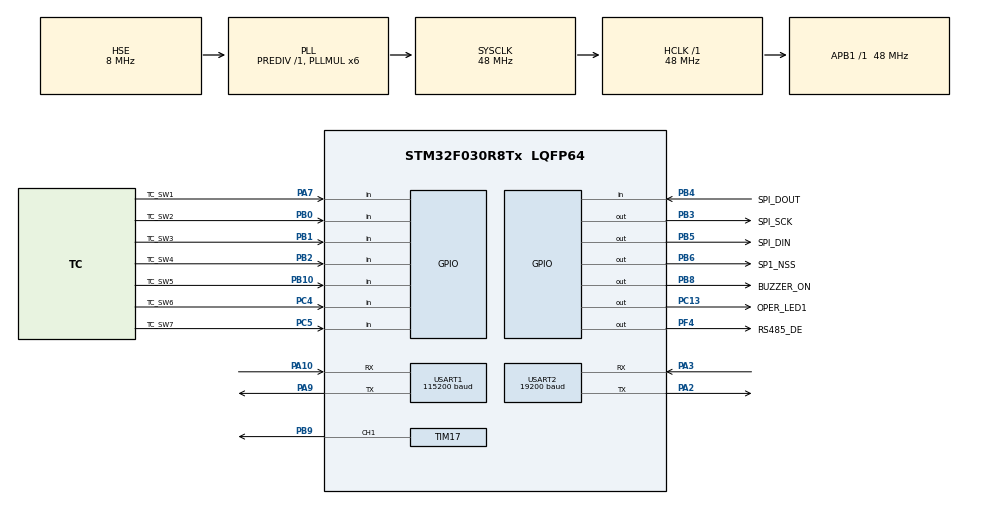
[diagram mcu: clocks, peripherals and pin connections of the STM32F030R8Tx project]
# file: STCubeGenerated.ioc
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Mcu.Family=STM32F0
Mcu.Name=STM32F030R8Tx
Mcu.Package=LQFP64
NVIC.USART1_IRQn=true\:0\:0\:false\:false\:true\:true\:false
NVIC.USART2_IRQn=true\:0\:0\:false\:false\:true\:true\:false
PA10.GPIO_PuPd=GPIO_PULLUP
PA10.Mode=Asynchronous
PA10.Signal=USART1_RX
PA2.GPIO_PuPd=GPIO_PULLUP
PA2.Mode=Asynchronous
PA2.Signal=USART2_TX
PA3.GPIO_PuPd=GPIO_PULLUP
PA3.Mode=Asynchronous
PA3.Signal=USART2_RX
PA7.GPIO_Label=TC_SW1
PA7.GPIO_PuPd=GPIO_PULLUP
PA7.Signal=GPIO_Input
PA9.GPIO_PuPd=GPIO_PULLUP
PA9.Mode=Asynchronous
PA9.Signal=USART1_TX
PB0.GPIO_Label=TC_SW2
PB0.GPIO_PuPd=GPIO_PULLUP
PB0.Signal=GPIO_Input
PB1.GPIO_Label=TC_SW3
PB1.GPIO_PuPd=GPIO_PULLUP
PB1.Signal=GPIO_Input
PB10.GPIO_Label=TC_SW5
PB10.GPIO_PuPd=GPIO_PULLUP
PB10.Signal=GPIO_Input
PB2.GPIO_Label=TC_SW4
PB2.GPIO_PuPd=GPIO_PULLUP
PB2.Signal=GPIO_Input
PB3.GPIO_Label=SPI_SCK
PB3.GPIO_PuPd=GPIO_PULLUP
PB3.GPIO_Speed=GPIO_SPEED_FREQ_HIGH
PB3.Signal=GPIO_Output
PB4.GPIO_Label=SPI_DOUT
PB4.GPIO_PuPd=GPIO_PULLUP
PB4.Signal=GPIO_Input
PB5.GPIO_Label=SPI_DIN
PB5.GPIO_PuPd=GPIO_PULLUP
PB5.GPIO_Speed=GPIO_SPEED_FREQ_HIGH
PB5.Signal=GPIO_Output
PB6.GPIO_FM6=SYSCFG_CFGR1_I2C_FMP_PB6
PB6.GPIO_Label=SP1_NSS
PB6.GPIO_PuPd=GPIO_PULLUP
PB6.GPIO_Speed=GPIO_SPEED_FREQ_HIGH
PB6.PinState=GPIO_PIN_SET
PB6.Signal=GPIO_Output
PB8.GPIO_FM8=SYSCFG_CFGR1_I2C_FMP_PB8
PB8.GPIO_Label=BUZZER_ON
PB8.GPIO_PuPd=GPIO_PULLDOWN
PB8.GPIO_Speed=GPIO_SPEED_FREQ_HIGH
PB8.Signal=GPIO_Output
PB9.Signal=S_TIM17_CH1
PC13.GPIO_Label=OPER_LED1
PC13.GPIO_PuPd=GPIO_PULLUP
PC13.GPIO_Speed=GPIO_SPEED_FREQ_LOW
PC13.Signal=GPIO_Output
PC4.GPIO_Label=TC_SW6
PC4.GPIO_PuPd=GPIO_PULLUP
PC4.Signal=GPIO_Input
PC5.GPIO_Label=TC_SW7
PC5.GPIO_PuPd=GPIO_PULLUP
PC5.Signal=GPIO_Input
PF0-OSC_IN.Mode=HSE-External-Oscillator
PF0-OSC_IN.Signal=RCC_OSC_IN
PF1-OSC_OUT.Mode=HSE-External-Oscillator
PF1-OSC_OUT.Signal=RCC_OSC_OUT
PF4.GPIO_Label=RS485_DE
PF4.GPIO_PuPd=GPIO_PULLDOWN
PF4.GPIO_Speed=GPIO_SPEED_FREQ_HIGH
PF4.Signal=GPIO_Output
ProjectManager.HeapSize=0x200
ProjectManager.StackSize=0x400
ProjectManager.TargetToolchain=MDK-ARM V5.27
RCC.AHBFreq_Value=48000000
RCC.APB1Freq_Value=48000000
RCC.APB1TimFreq_Value=48000000
RCC.HCLKFreq_Value=48000000
RCC.PLLMUL=RCC_PLL_MUL6
RCC.PLLSourceVirtual=RCC_PLLSOURCE_HSE
RCC.SYSCLKFreq_VALUE=48000000
RCC.SYSCLKSource=RCC_SYSCLKSOURCE_PLLCLK
SH.S_TIM17_CH1.0=TIM17_CH1,PWM Generation1 CH1
TIM1.ClockDivision=TIM_CLOCKDIVISION_DIV2
TIM1.Prescaler=21
TIM17.Channel=TIM_CHANNEL_1
USART1.BaudRate=115200
USART1.DMADisableonRxErrorParam=ADVFEATURE_DMA_DISABLEONRXERROR
USART1.OverrunDisableParam=ADVFEATURE_OVERRUN_DISABLE
USART1.VirtualMode-Asynchronous=VM_ASYNC
USART2.BaudRate=19200
USART2.DMADisableonRxErrorParam=ADVFEATURE_DMA_DISABLEONRXERROR
USART2.OverrunDisableParam=ADVFEATURE_OVERRUN_DISABLE
USART2.VirtualMode-Asynchronous=VM_ASYNC
VP_TIM17_VS_ClockSourceINT.Mode=Enable_Timer
VP_TIM1_VS_ClockSourceINT.Mode=Internal
board=custom

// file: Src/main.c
/* USER CODE BEGIN Header */
/**
  ******************************************************************************
  * @file           : main.c
  * @brief          : Main program body
  ******************************************************************************
  * @attention
  *
  * <h2><center>&copy; Copyright (c) 2021 STMicroelectronics.
  * All rights reserved.</center></h2>
  *
  * This software component is licensed by ST under BSD 3-Clause license,
  * the "License"; You may not use this file except in compliance with the
  * License. You may obtain a copy of the License at:
  *                        opensource.org/licenses/BSD-3-Clause
  *
  ******************************************************************************
  */
/* USER CODE END Header */
#include "main.h"

/* USER CODE BEGIN Includes */
#include "rs485.h"
#include "clothdryer.h"
#include "debug.h"
#include "buzzer.h"
#include "segment.h"
#include "flashrom.h"
/* USER CODE END Includes */

TIM_HandleTypeDef htim1;
TIM_HandleTypeDef htim17;

UART_HandleTypeDef huart1;
UART_HandleTypeDef huart2;

/* USER CODE BEGIN PV */
extern _Bool 		comm_init_ok;
/* USER CODE END PV */

void SystemClock_Config(void);
static void MX_GPIO_Init(void);
static void MX_TIM1_Init(void);
static void MX_USART1_UART_Init(void);
static void MX_USART2_UART_Init(void);
static void MX_TIM17_Init(void);
/* USER CODE BEGIN PFP */
void Timer_Proc(void);
/* USER CODE END PFP */

int main(void)
{

  /* MCU Configuration--------------------------------------------------------*/

  /* Reset of all peripherals, Initializes the Flash interface and the Systick. */
  HAL_Init();

  /* Configure the system clock */
  SystemClock_Config();

  /* Initialize all configured peripherals */
  MX_GPIO_Init();
  MX_TIM1_Init();
  MX_USART1_UART_Init();
  MX_USART2_UART_Init();
  MX_TIM17_Init();
  /* USER CODE BEGIN 2 */
	FlashRom_Init();
	LD1963_Init();

	Play_Buzzer(7);

	Disp_Version();
	Send_LED_Data();
	HAL_Delay(1000);

	Waitled_on();

	mprintf("System Clock = %d Mhz\n", SystemCoreClock / 1000000);
	mprintf("Build Date is %s %s\n", __DATE__, __TIME__);

  /* USER CODE END 2 */

  /* Infinite loop */
  /* USER CODE BEGIN WHILE */
  while (1)
  {
	  Timer_Proc();

	  if(comm_init_ok)
	  {
		  InputCheck_Proc();
		  Error_Check_Proc();	// for cert
	  }

	  Debug_proc();
	  InputKey_Proc();

	  if(comm_init_ok)
		Cloth_Dryer_Proc();

	  Disp_Segment();
	  Disp_Coollingled();
	  Output_Proc();
	  Rs485_proc();
    /* USER CODE END WHILE */

  }
}

void SystemClock_Config(void)
{
  RCC_OscInitTypeDef RCC_OscInitStruct = {0};
  RCC_ClkInitTypeDef RCC_ClkInitStruct = {0};
  RCC_PeriphCLKInitTypeDef PeriphClkInit = {0};

  /** Initializes the RCC Oscillators according to the specified parameters
  * in the RCC_OscInitTypeDef structure.
  */
  RCC_OscInitStruct.OscillatorType = RCC_OSCILLATORTYPE_HSE;
  RCC_OscInitStruct.HSEState = RCC_HSE_ON;
  RCC_OscInitStruct.PLL.PLLState = RCC_PLL_ON;
  RCC_OscInitStruct.PLL.PLLSource = RCC_PLLSOURCE_HSE;
  RCC_OscInitStruct.PLL.PLLMUL = RCC_PLL_MUL6;
  RCC_OscInitStruct.PLL.PREDIV = RCC_PREDIV_DIV1;
  if (HAL_RCC_OscConfig(&RCC_OscInitStruct) != HAL_OK)
  {
    Error_Handler();
  }
  /** Initializes the CPU, AHB and APB buses clocks
  */
  RCC_ClkInitStruct.ClockType = RCC_CLOCKTYPE_HCLK|RCC_CLOCKTYPE_SYSCLK
                              |RCC_CLOCKTYPE_PCLK1;
  RCC_ClkInitStruct.SYSCLKSource = RCC_SYSCLKSOURCE_PLLCLK;
  RCC_ClkInitStruct.AHBCLKDivider = RCC_SYSCLK_DIV1;
  RCC_ClkInitStruct.APB1CLKDivider = RCC_HCLK_DIV1;

  if (HAL_RCC_ClockConfig(&RCC_ClkInitStruct, FLASH_LATENCY_1) != HAL_OK)
  {
    Error_Handler();
  }
  PeriphClkInit.PeriphClockSelection = RCC_PERIPHCLK_USART1;
  PeriphClkInit.Usart1ClockSelection = RCC_USART1CLKSOURCE_PCLK1;
  if (HAL_RCCEx_PeriphCLKConfig(&PeriphClkInit) != HAL_OK)
  {
    Error_Handler();
  }
}

static void MX_TIM1_Init(void)
{

  TIM_ClockConfigTypeDef sClockSourceConfig = {0};
  TIM_MasterConfigTypeDef sMasterConfig = {0};

  htim1.Instance = TIM1;
  htim1.Init.Prescaler = 21;
  htim1.Init.CounterMode = TIM_COUNTERMODE_UP;
  htim1.Init.Period = 65535;
  htim1.Init.ClockDivision = TIM_CLOCKDIVISION_DIV2;
  htim1.Init.RepetitionCounter = 0;
  htim1.Init.AutoReloadPreload = TIM_AUTORELOAD_PRELOAD_DISABLE;
  if (HAL_TIM_Base_Init(&htim1) != HAL_OK)
  {
    Error_Handler();
  }
  sClockSourceConfig.ClockSource = TIM_CLOCKSOURCE_INTERNAL;
  if (HAL_TIM_ConfigClockSource(&htim1, &sClockSourceConfig) != HAL_OK)
  {
    Error_Handler();
  }
  sMasterConfig.MasterOutputTrigger = TIM_TRGO_RESET;
  sMasterConfig.MasterSlaveMode = TIM_MASTERSLAVEMODE_DISABLE;
  if (HAL_TIMEx_MasterConfigSynchronization(&htim1, &sMasterConfig) != HAL_OK)
  {
    Error_Handler();
  }

}

static void MX_TIM17_Init(void)
{

  TIM_OC_InitTypeDef sConfigOC = {0};
  TIM_BreakDeadTimeConfigTypeDef sBreakDeadTimeConfig = {0};

  htim17.Instance = TIM17;
  htim17.Init.Prescaler = 0;
  htim17.Init.CounterMode = TIM_COUNTERMODE_UP;
  htim17.Init.Period = 65535;
  htim17.Init.ClockDivision = TIM_CLOCKDIVISION_DIV1;
  htim17.Init.RepetitionCounter = 0;
  htim17.Init.AutoReloadPreload = TIM_AUTORELOAD_PRELOAD_DISABLE;
  if (HAL_TIM_Base_Init(&htim17) != HAL_OK)
  {
    Error_Handler();
  }
  if (HAL_TIM_PWM_Init(&htim17) != HAL_OK)
  {
    Error_Handler();
  }
  sConfigOC.OCMode = TIM_OCMODE_PWM1;
  sConfigOC.Pulse = 0;
  sConfigOC.OCPolarity = TIM_OCPOLARITY_HIGH;
  sConfigOC.OCNPolarity = TIM_OCNPOLARITY_HIGH;
  sConfigOC.OCFastMode = TIM_OCFAST_DISABLE;
  sConfigOC.OCIdleState = TIM_OCIDLESTATE_RESET;
  sConfigOC.OCNIdleState = TIM_OCNIDLESTATE_RESET;
  if (HAL_TIM_PWM_ConfigChannel(&htim17, &sConfigOC, TIM_CHANNEL_1) != HAL_OK)
  {
    Error_Handler();
  }
  sBreakDeadTimeConfig.OffStateRunMode = TIM_OSSR_DISABLE;
  sBreakDeadTimeConfig.OffStateIDLEMode = TIM_OSSI_DISABLE;
  sBreakDeadTimeConfig.LockLevel = TIM_LOCKLEVEL_OFF;
  sBreakDeadTimeConfig.DeadTime = 0;
  sBreakDeadTimeConfig.BreakState = TIM_BREAK_DISABLE;
  sBreakDeadTimeConfig.BreakPolarity = TIM_BREAKPOLARITY_HIGH;
  sBreakDeadTimeConfig.AutomaticOutput = TIM_AUTOMATICOUTPUT_DISABLE;
  if (HAL_TIMEx_ConfigBreakDeadTime(&htim17, &sBreakDeadTimeConfig) != HAL_OK)
  {
    Error_Handler();
  }
  HAL_TIM_MspPostInit(&htim17);

}

static void MX_USART1_UART_Init(void)
{

  huart1.Instance = USART1;
  huart1.Init.BaudRate = 115200;
  huart1.Init.WordLength = UART_WORDLENGTH_8B;
  huart1.Init.StopBits = UART_STOPBITS_1;
  huart1.Init.Parity = UART_PARITY_NONE;
  huart1.Init.Mode = UART_MODE_TX_RX;
  huart1.Init.HwFlowCtl = UART_HWCONTROL_NONE;
  huart1.Init.OverSampling = UART_OVERSAMPLING_16;
  huart1.Init.OneBitSampling = UART_ONE_BIT_SAMPLE_DISABLE;
  huart1.AdvancedInit.AdvFeatureInit = UART_ADVFEATURE_RXOVERRUNDISABLE_INIT|UART_ADVFEATURE_DMADISABLEONERROR_INIT;
  huart1.AdvancedInit.OverrunDisable = UART_ADVFEATURE_OVERRUN_DISABLE;
  huart1.AdvancedInit.DMADisableonRxError = UART_ADVFEATURE_DMA_DISABLEONRXERROR;
  if (HAL_UART_Init(&huart1) != HAL_OK)
  {
    Error_Handler();
  }
  /* USER CODE BEGIN USART1_Init 2 */
	SET_BIT(USART1->CR1, USART_CR1_RXNEIE);
  /* USER CODE END USART1_Init 2 */

}

static void MX_USART2_UART_Init(void)
{

  huart2.Instance = USART2;
  huart2.Init.BaudRate = 19200;
  huart2.Init.WordLength = UART_WORDLENGTH_8B;
  huart2.Init.StopBits = UART_STOPBITS_1;
  huart2.Init.Parity = UART_PARITY_NONE;
  huart2.Init.Mode = UART_MODE_TX_RX;
  huart2.Init.HwFlowCtl = UART_HWCONTROL_NONE;
  huart2.Init.OverSampling = UART_OVERSAMPLING_16;
  huart2.Init.OneBitSampling = UART_ONE_BIT_SAMPLE_DISABLE;
  huart2.AdvancedInit.AdvFeatureInit = UART_ADVFEATURE_RXOVERRUNDISABLE_INIT|UART_ADVFEATURE_DMADISABLEONERROR_INIT;
  huart2.AdvancedInit.OverrunDisable = UART_ADVFEATURE_OVERRUN_DISABLE;
  huart2.AdvancedInit.DMADisableonRxError = UART_ADVFEATURE_DMA_DISABLEONRXERROR;
  if (HAL_UART_Init(&huart2) != HAL_OK)
  {
    Error_Handler();
  }
  /* USER CODE BEGIN USART2_Init 2 */
	SET_BIT(USART2->CR1, USART_CR1_RXNEIE);
  /* USER CODE END USART2_Init 2 */

}

static void MX_GPIO_Init(void)
{
  GPIO_InitTypeDef GPIO_InitStruct = {0};

  /* GPIO Ports Clock Enable */
  __HAL_RCC_GPIOC_CLK_ENABLE();
  __HAL_RCC_GPIOF_CLK_ENABLE();
  __HAL_RCC_GPIOA_CLK_ENABLE();
  __HAL_RCC_GPIOB_CLK_ENABLE();

  /*Configure GPIO pin Output Level */
  HAL_GPIO_WritePin(OPER_LED1_GPIO_Port, OPER_LED1_Pin, GPIO_PIN_RESET);

  /*Configure GPIO pin Output Level */
  HAL_GPIO_WritePin(RS485_DE_GPIO_Port, RS485_DE_Pin, GPIO_PIN_RESET);

  /*Configure GPIO pin Output Level */
  HAL_GPIO_WritePin(GPIOB, SPI_SCK_Pin|SPI_DIN_Pin|BUZZER_ON_Pin, GPIO_PIN_RESET);

  /*Configure GPIO pin Output Level */
  HAL_GPIO_WritePin(SP1_NSS_GPIO_Port, SP1_NSS_Pin, GPIO_PIN_SET);

  /*Configure GPIO pin : OPER_LED1_Pin */
  GPIO_InitStruct.Pin = OPER_LED1_Pin;
  GPIO_InitStruct.Mode = GPIO_MODE_OUTPUT_PP;
  GPIO_InitStruct.Pull = GPIO_PULLUP;
  GPIO_InitStruct.Speed = GPIO_SPEED_FREQ_LOW;
  HAL_GPIO_Init(OPER_LED1_GPIO_Port, &GPIO_InitStruct);

  /*Configure GPIO pin : RS485_DE_Pin */
  GPIO_InitStruct.Pin = RS485_DE_Pin;
  GPIO_InitStruct.Mode = GPIO_MODE_OUTPUT_PP;
  GPIO_InitStruct.Pull = GPIO_PULLDOWN;
  GPIO_InitStruct.Speed = GPIO_SPEED_FREQ_HIGH;
  HAL_GPIO_Init(RS485_DE_GPIO_Port, &GPIO_InitStruct);

  /*Configure GPIO pin : TC_SW1_Pin */
  GPIO_InitStruct.Pin = TC_SW1_Pin;
  GPIO_InitStruct.Mode = GPIO_MODE_INPUT;
  GPIO_InitStruct.Pull = GPIO_PULLUP;
  HAL_GPIO_Init(TC_SW1_GPIO_Port, &GPIO_InitStruct);

  /*Configure GPIO pins : TC_SW6_Pin TC_SW7_Pin */
  GPIO_InitStruct.Pin = TC_SW6_Pin|TC_SW7_Pin;
  GPIO_InitStruct.Mode = GPIO_MODE_INPUT;
  GPIO_InitStruct.Pull = GPIO_PULLUP;
  HAL_GPIO_Init(GPIOC, &GPIO_InitStruct);

  /*Configure GPIO pins : TC_SW2_Pin TC_SW3_Pin TC_SW4_Pin TC_SW5_Pin
                           SPI_DOUT_Pin */
  GPIO_InitStruct.Pin = TC_SW2_Pin|TC_SW3_Pin|TC_SW4_Pin|TC_SW5_Pin
                          |SPI_DOUT_Pin;
  GPIO_InitStruct.Mode = GPIO_MODE_INPUT;
  GPIO_InitStruct.Pull = GPIO_PULLUP;
  HAL_GPIO_Init(GPIOB, &GPIO_InitStruct);

  /*Configure GPIO pins : SPI_SCK_Pin SPI_DIN_Pin SP1_NSS_Pin */
  GPIO_InitStruct.Pin = SPI_SCK_Pin|SPI_DIN_Pin|SP1_NSS_Pin;
  GPIO_InitStruct.Mode = GPIO_MODE_OUTPUT_PP;
  GPIO_InitStruct.Pull = GPIO_PULLUP;
  GPIO_InitStruct.Speed = GPIO_SPEED_FREQ_HIGH;
  HAL_GPIO_Init(GPIOB, &GPIO_InitStruct);

  /*Configure GPIO pin : BUZZER_ON_Pin */
  GPIO_InitStruct.Pin = BUZZER_ON_Pin;
  GPIO_InitStruct.Mode = GPIO_MODE_OUTPUT_PP;
  GPIO_InitStruct.Pull = GPIO_PULLDOWN;
  GPIO_InitStruct.Speed = GPIO_SPEED_FREQ_HIGH;
  HAL_GPIO_Init(BUZZER_ON_GPIO_Port, &GPIO_InitStruct);

  /**/
  HAL_I2CEx_EnableFastModePlus(SYSCFG_CFGR1_I2C_FMP_PB6);

  /**/
  HAL_I2CEx_EnableFastModePlus(SYSCFG_CFGR1_I2C_FMP_PB8);

}

void Error_Handler(void)
{
  __disable_irq();
  while (1)
  {
  }
}

/************************ (C) COPYRIGHT STMicroelectronics *****END OF FILE****/
